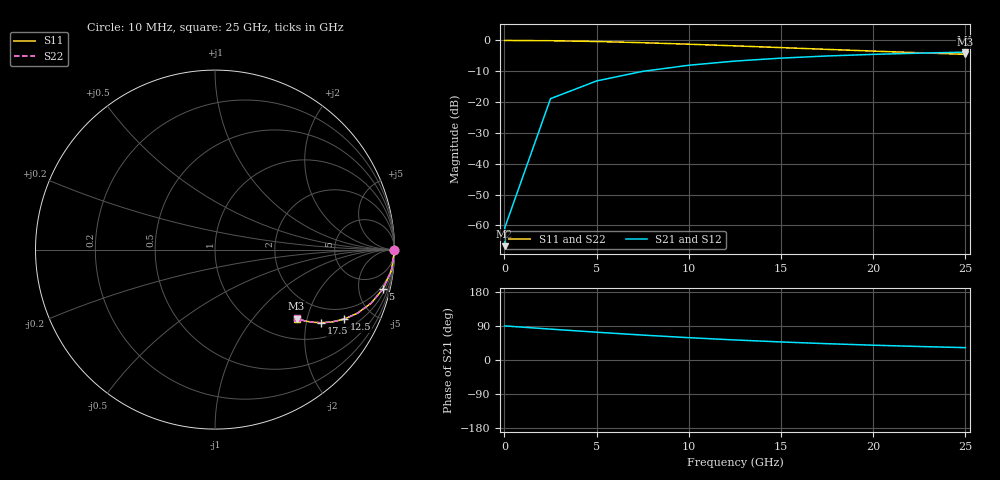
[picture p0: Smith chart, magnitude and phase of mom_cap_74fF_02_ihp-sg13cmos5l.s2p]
#  GHZ S DB R 50
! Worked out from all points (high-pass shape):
!   12 points, 10 MHz to 25 GHz, reference 50 ohm
!   highest |S21| = -3.81 dB at 25 GHz (marker M1); lowest = -66.8 dB at 10 MHz (marker M2)
!   |S21| within 3 dB of the highest: 12.29 GHz to end of sweep
!   lowest |S11| = -4.5 dB at 25 GHz (marker M3), VSWR 3.94, Z = 72.6 - j86.3 ohm
!   |S11| at or under -10 dB: nowhere
!   |S22| runs from -4.5 to 0.0 dB; largest |S21 - S12| = 6.2e-13
!   S11 on the Smith chart (normalised r, x): 10 MHz: open; 5 GHz: 1.45, -8.43; 12.5 GHz: 1.45, -3.39; 17.5 GHz: 1.45, -2.44; 25 GHz: 1.45, -1.73
0.01  -0.00 -0.0  -66.77 89.9  -66.77 89.9  -0.00 -0.0
0.02  -0.00 -0.1  -60.75 89.9  -60.75 89.9  -0.00 -0.1
2.5  -0.09 -6.7  -18.90 81.5  -18.90 81.5  -0.09 -6.7
5  -0.34 -13.2  -13.14 73.3  -13.14 73.3  -0.34 -13.1
7.5  -0.73 -19.0  -10.03 65.7  -10.03 65.7  -0.73 -18.9
10  -1.21 -24.0  -8.05 58.9  -8.05 58.9  -1.21 -24.0
12.5  -1.75 -28.3  -6.69 52.9  -6.69 52.9  -1.75 -28.3
15  -2.32 -31.8  -5.74 47.6  -5.74 47.6  -2.32 -31.8
17.5  -2.89 -34.7  -5.04 43.0  -5.04 43.0  -2.89 -34.7
20  -3.45 -37.0  -4.51 39.1  -4.51 39.1  -3.45 -36.9
22.5  -3.99 -38.8  -4.11 35.6  -4.11 35.6  -3.99 -38.7
25  -4.51 -40.2  -3.81 32.6  -3.81 32.6  -4.51 -40.1
